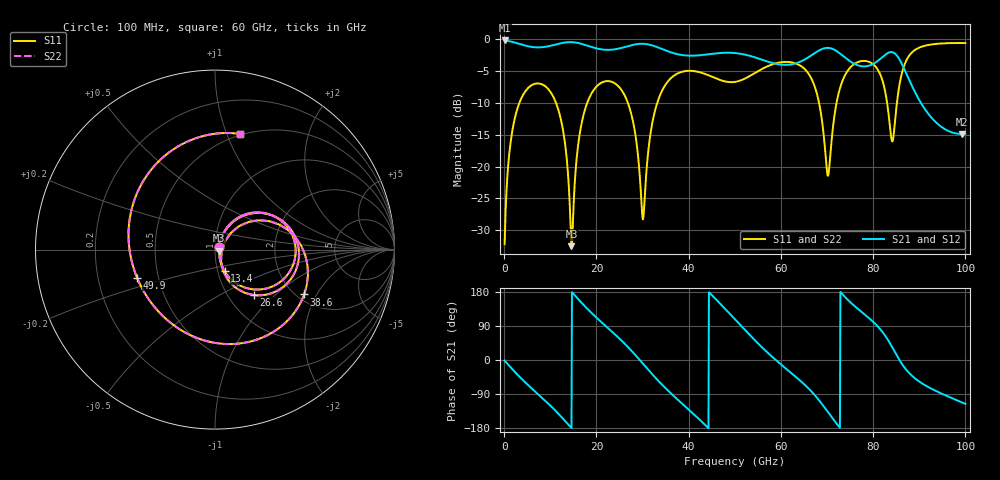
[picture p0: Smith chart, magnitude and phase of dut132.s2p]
! Touchstone file exported from HFSS 2026.1.0
!  File:  C:/ffzhzh/LocalFiles/Ansys_Project_Files/temp_train_TSV_RDL_132_1783640047_29156.aedt
!  Generated:  07:41:58 AM Jul 10, 2026
!  Design:  TSV_RDL
!  Project:  temp_train_TSV_RDL_132_1783640047_29156
! Variables:
!  h_bsmrdl = 4.28um
!  h_ox = 20um
!  h_rdl = 5um
!  h_sub = 55.88um
!  h_tmrdl = 2.46um
!  h_tsv = 55.88um
!  h_via = 3um
!  l_bsmrdl = 569.35um
!  l_sub = 4225.6um
!  l_tmrdl = 497.64um
!  m_sub = 200um
!  pitch = 43.01um
!  r_tsv = 13.12um
!  s_tmrdl = 10um
!  w_bsmrdl = 14.5um
!  w_sub = 500um
!  w_tmrdl = 27.83um
!  x_tsv_center1 = 511.555um
!  x_tsv_center2 = 1095.405um
!  x_tsv_center3 = 1620.875um
!  x_tsv_center4 = 2204.725um
!  x_tsv_center5 = 2730.195um
!  x_tsv_center6 = 3314.045um
# GHz S MA R 50.000000
! Terminal data exported
! Port[1] = TM_RDL1_1_T1
! Port[2] = TM_RDL5_1_T1
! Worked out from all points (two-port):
!   1000 points, 100 MHz to 100 GHz, reference 50 ohm
!   highest |S21| = -0.18 dB at 100 MHz (marker M1); lowest = -14.9 dB at 99.2 GHz (marker M2)
!   |S21| within 3 dB of the highest: start of sweep to 55.8 GHz; 65.14 GHz to 74.48 GHz (9.338 GHz wide, 13.4 % of centre) (the widest 2 of 3)
!   lowest |S11| = -32.5 dB at 14.6 GHz (marker M3), VSWR 1.05, Z = 52.4 - j0.555 ohm
!   |S11| at or under -10 dB: 11.24 GHz to 18.01 GHz (6.763 GHz wide, 46.2 % of centre); 26.82 GHz to 33.19 GHz (6.367 GHz wide, 21.2 % of centre); 68.27 GHz to 72.06 GHz (3.789 GHz wide, 5.4 % of centre) (the widest 3 of 5)
!   |S22| runs from -32.8 to -0.6 dB; largest |S21 - S12| = 7.3e-14
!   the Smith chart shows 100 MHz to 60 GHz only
!   S11 on the Smith chart (normalised r, x): 100 MHz: 1.04, +0.03; 13.4 GHz: 1.08, -0.26; 26.6 GHz: 1.31, -0.74; 38.6 GHz: 2.19, -1.58; 49.9 GHz: 0.38, -0.15; 60 GHz: 0.49, +1.12
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0.1  0.0245 29.7  0.979 -1.5  0.979 -1.5  0.0245 29.7
! Gamma 0 0 0 0
! Port Impedance 50 0 50 0
1.8  0.1932 57.0  0.9532 -24.7  0.9532 -24.7  0.1932 57.0
4.9  0.4031 23.4  0.8859 -62.9  0.8859 -62.9  0.4031 23.3
13.4  0.1319 -66.0  0.9456 -163.3  0.9456 -163.3  0.1318 -66.3
14.6  0.02365 -12.9  0.9494 -179.6  0.9494 -179.6  0.02301 -13.3
16.8  0.2191 53.2  0.9198 150.8  0.9198 150.8  0.2191 53.4
26.6  0.3319 -49.7  0.8781 37.3  0.8781 37.3  0.332 -49.5
30.1  0.03835 -10.0  0.9218 -9.7  0.9218 -9.7  0.03998 -10.2
33.4  0.3333 28.7  0.8616 -54.6  0.8616 -54.6  0.3334 28.4
38.6  0.5559 -26.7  0.7515 -115.3  0.7515 -115.3  0.5559 -26.9
44.7  0.5145 -93.4  0.7658 175.3  0.7658 175.3  0.5146 -93.4
49.9  0.4617 -160.3  0.7802 109.1  0.7802 109.1  0.4618 -160.1
50.1  0.4628 -163.0  0.779 106.5  0.779 106.5  0.4629 -162.8
60  0.6593 77.7  0.6324 -11.5  0.6324 -11.5  0.6593 77.9
66.7  0.4837 11.7  0.7518 -84.1  0.7518 -84.1  0.4837 11.8
70.2  0.08456 41.2  0.8558 -137.4  0.8558 -137.4  0.08568 41.3
72.5  0.3743 83.5  0.788 -174.4  0.788 -174.4  0.3747 83.3
79.1  0.6652 22.0  0.6202 110.5  0.6202 110.5  0.6652 21.7
83.4  0.2484 -7.4  0.7865 49.2  0.7865 49.2  0.2461 -8.2
87.7  0.7337 46.2  0.4897 -32.9  0.4897 -32.9  0.7332 46.4
99.2  0.9345 -21.8  0.1804 -111.6  0.1804 -111.6  0.9347 -21.9
100  0.9335 -25.6  0.1812 -115.8  0.1812 -115.8  0.9337 -25.7
